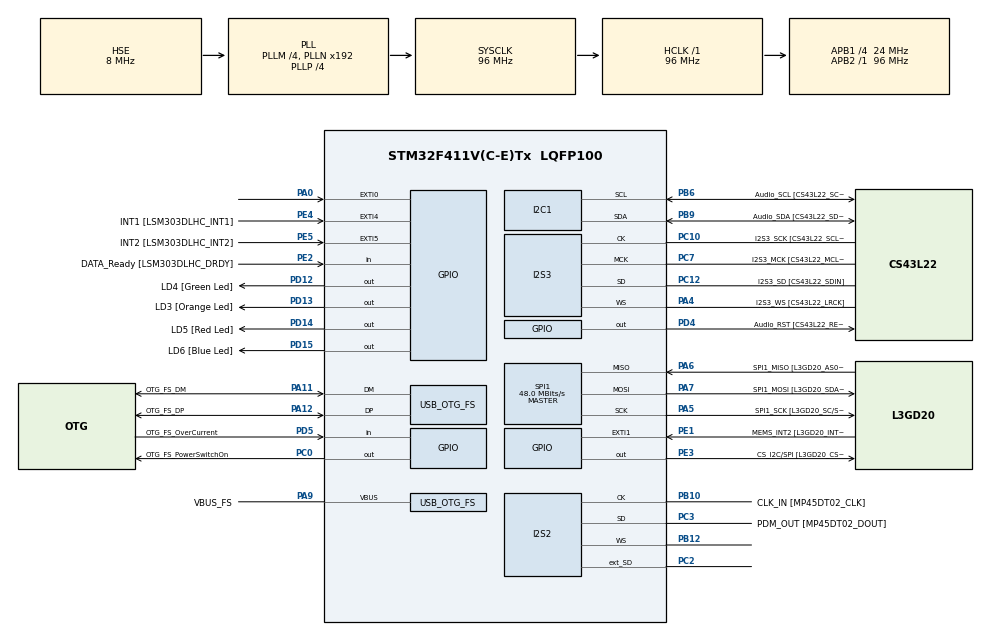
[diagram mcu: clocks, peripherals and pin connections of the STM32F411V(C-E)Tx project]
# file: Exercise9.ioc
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FREERTOS.Mutexes01=CriticalResourceMutex,Dynamic,NULL
FREERTOS.Tasks01=GreenLEDTask,0,128,StartGreenLEDTask,Default,NULL,Dynamic,NULL,NULL;RedLEDTask,0,128,StartRedLEDTask,Default,NULL,Dynamic,NULL,NULL;OrangeLEDTask,1,128,StartOrangeLEDTask,Default,NULL,Dynamic,NULL,NULL
I2S2.AudioFreq=I2S_AUDIOFREQ_96K
I2S2.ErrorAudioFreq=0.15 %
I2S2.FullDuplexMode=I2S_FULLDUPLEXMODE_ENABLE
I2S2.Instance=SPI$Index
I2S2.RealAudioFreq=96.153 KHz
I2S2.VirtualMode=I2S_MODE_MASTER
I2S3.AudioFreq=I2S_AUDIOFREQ_96K
I2S3.ErrorAudioFreq=-6.99 %
I2S3.FullDuplexMode=I2S_FULLDUPLEXMODE_DISABLE
I2S3.Instance=SPI$Index
I2S3.RealAudioFreq=89.285 KHz
I2S3.VirtualMode=I2S_MODE_MASTER
Mcu.Family=STM32F4
Mcu.Name=STM32F411V(C-E)Tx
Mcu.Package=LQFP100
NVIC.OTG_FS_IRQn=true\:5\:0\:false\:false\:true\:true\:true\:true
NVIC.PriorityGroup=NVIC_PRIORITYGROUP_4
NVIC.TIM1_UP_TIM10_IRQn=true\:0\:0\:false\:false\:true\:false\:false\:true
NVIC.TimeBase=TIM1_UP_TIM10_IRQn
NVIC.TimeBaseIP=TIM1
PA0-WKUP.GPIO_ModeDefaultEXTI=GPIO_MODE_EVT_RISING
PA0-WKUP.Signal=GPXTI0
PA10.GPIO_Label=OTG_FS_ID
PA10.Signal=USB_OTG_FS_ID
PA11.GPIO_Label=OTG_FS_DM
PA11.Mode=Host_Only
PA11.Signal=USB_OTG_FS_DM
PA12.GPIO_Label=OTG_FS_DP
PA12.Mode=Host_Only
PA12.Signal=USB_OTG_FS_DP
PA13.GPIO_Label=SWDIO
PA13.Mode=Serial_Wire
PA13.Signal=SYS_JTMS-SWDIO
PA14.GPIO_Label=SWCLK
PA14.Mode=Serial_Wire
PA14.Signal=SYS_JTCK-SWCLK
PA4.GPIO_Label=I2S3_WS [CS43L22_LRCK]
PA4.GPIO_Mode=GPIO_MODE_AF_PP
PA4.GPIO_PuPd=GPIO_NOPULL
PA4.GPIO_Speed=GPIO_SPEED_FREQ_LOW
PA4.Mode=Half_Duplex_Master
PA4.Signal=I2S3_WS
PA5.GPIO_Label=SPI1_SCK [L3GD20_SC/SPC]
PA5.Mode=Full_Duplex_Master
PA5.Signal=SPI1_SCK
PA6.GPIO_Label=SPI1_MISO [L3GD20_AS0/SDO]
PA6.Mode=Full_Duplex_Master
PA6.Signal=SPI1_MISO
PA7.GPIO_Label=SPI1_MOSI [L3GD20_SDA/SDI/SDO]
PA7.Mode=Full_Duplex_Master
PA7.Signal=SPI1_MOSI
PA9.GPIO_Label=VBUS_FS
PA9.Mode=Activate_VBUS
PA9.Signal=USB_OTG_FS_VBUS
PB10.GPIO_Label=CLK_IN [MP45DT02_CLK]
PB10.Mode=Full_Duplex_Master
PB10.Signal=I2S2_CK
PB12.Mode=Full_Duplex_Master
PB12.Signal=I2S2_WS
PB3.GPIO_Label=SWO
PB3.Signal=SYS_JTDO-SWO
PB6.GPIO_Label=Audio_SCL [CS43L22_SCL]
PB6.GPIO_Mode=GPIO_MODE_AF_OD
PB6.GPIO_PuPd=GPIO_NOPULL
PB6.GPIO_Speed=GPIO_SPEED_FREQ_LOW
PB6.Mode=I2C
PB6.Signal=I2C1_SCL
PB9.GPIO_Label=Audio_SDA [CS43L22_SDA]
PB9.GPIO_Mode=GPIO_MODE_AF_OD
PB9.GPIO_PuPd=GPIO_NOPULL
PB9.GPIO_Speed=GPIO_SPEED_FREQ_LOW
PB9.Mode=I2C
PB9.Signal=I2C1_SDA
PC0.GPIO_Label=OTG_FS_PowerSwitchOn
PC0.PinState=GPIO_PIN_SET
PC0.Signal=GPIO_Output
PC10.GPIO_Label=I2S3_SCK [CS43L22_SCLK]
PC10.GPIO_Mode=GPIO_MODE_AF_PP
PC10.GPIO_PuPd=GPIO_NOPULL
PC10.GPIO_Speed=GPIO_SPEED_FREQ_LOW
PC10.Mode=Half_Duplex_Master
PC10.Signal=I2S3_CK
PC12.GPIO_Label=I2S3_SD [CS43L22_SDIN]
PC12.GPIO_Mode=GPIO_MODE_AF_PP
PC12.GPIO_PuPd=GPIO_NOPULL
PC12.GPIO_Speed=GPIO_SPEED_FREQ_LOW
PC12.Mode=Half_Duplex_Master
PC12.Signal=I2S3_SD
PC14-OSC32_IN.GPIO_Label=PC14-OSC32_IN
PC14-OSC32_IN.Mode=LSE-External-Oscillator
PC14-OSC32_IN.Signal=RCC_OSC32_IN
PC15-OSC32_OUT.GPIO_Label=PC15-OSC32_OUT
PC15-OSC32_OUT.Mode=LSE-External-Oscillator
PC15-OSC32_OUT.Signal=RCC_OSC32_OUT
PC2.Mode=Full_Duplex_Master
PC2.Signal=I2S2_ext_SD
PC3.GPIO_Label=PDM_OUT [MP45DT02_DOUT]
PC3.Mode=Full_Duplex_Master
PC3.Signal=I2S2_SD
PC7.GPIO_Label=I2S3_MCK [CS43L22_MCLK]
PC7.GPIO_Mode=GPIO_MODE_AF_PP
PC7.GPIO_PuPd=GPIO_NOPULL
PC7.GPIO_Speed=GPIO_SPEED_FREQ_LOW
PC7.Mode=Master_Clock_Activated
PC7.Signal=I2S3_MCK
PD12.GPIO_Label=LD4 [Green Led]
PD12.GPIO_PuPd=GPIO_NOPULL
PD12.GPIO_Speed=GPIO_SPEED_FREQ_LOW
PD12.Signal=GPIO_Output
PD13.GPIO_Label=LD3 [Orange Led]
PD13.GPIO_PuPd=GPIO_NOPULL
PD13.GPIO_Speed=GPIO_SPEED_FREQ_LOW
PD13.Signal=GPIO_Output
PD14.GPIO_Label=LD5 [Red Led]
PD14.GPIO_PuPd=GPIO_NOPULL
PD14.GPIO_Speed=GPIO_SPEED_FREQ_LOW
PD14.Signal=GPIO_Output
PD15.GPIO_Label=LD6 [Blue Led]
PD15.GPIO_PuPd=GPIO_NOPULL
PD15.GPIO_Speed=GPIO_SPEED_FREQ_LOW
PD15.Signal=GPIO_Output
PD4.GPIO_Label=Audio_RST [CS43L22_RESET]
PD4.Signal=GPIO_Output
PD5.GPIO_Label=OTG_FS_OverCurrent
PD5.Signal=GPIO_Input
PE1.GPIO_Label=MEMS_INT2 [L3GD20_INT2]
PE1.GPIO_ModeDefaultEXTI=GPIO_MODE_EVT_RISING
PE1.Signal=GPXTI1
PE2.GPIO_Label=DATA_Ready [LSM303DLHC_DRDY]
PE2.Signal=GPIO_Input
PE3.GPIO_Label=CS_I2C/SPI [L3GD20_CS_I2C/SPI]
PE3.Signal=GPIO_Output
PE4.GPIO_Label=INT1 [LSM303DLHC_INT1]
PE4.GPIO_ModeDefaultEXTI=GPIO_MODE_EVT_RISING
PE4.Signal=GPXTI4
PE5.GPIO_Label=INT2 [LSM303DLHC_INT2]
PE5.GPIO_ModeDefaultEXTI=GPIO_MODE_EVT_RISING
PE5.Signal=GPXTI5
PH0\ -\ OSC_IN.GPIO_Label=PH0-OSC_IN
PH0\ -\ OSC_IN.Mode=HSE-External-Oscillator
PH0\ -\ OSC_IN.Signal=RCC_OSC_IN
PH1\ -\ OSC_OUT.GPIO_Label=PH1-OSC_OUT
PH1\ -\ OSC_OUT.Mode=HSE-External-Oscillator
PH1\ -\ OSC_OUT.Signal=RCC_OSC_OUT
ProjectManager.HeapSize=0x200
ProjectManager.StackSize=0x400
ProjectManager.TargetToolchain=STM32CubeIDE
RCC.48MHZClocksFreq_Value=48000000
RCC.AHBFreq_Value=96000000
RCC.APB1CLKDivider=RCC_HCLK_DIV4
RCC.APB1Freq_Value=24000000
RCC.APB1TimFreq_Value=48000000
RCC.APB2Freq_Value=96000000
RCC.APB2TimFreq_Value=96000000
RCC.CortexFreq_Value=96000000
RCC.HCLKFreq_Value=96000000
RCC.HSE_VALUE=8000000
RCC.HSI_VALUE=16000000
RCC.PLLI2SM=5
RCC.PLLI2SN=200
RCC.PLLM=4
RCC.PLLP=RCC_PLLP_DIV4
RCC.PLLQ=8
RCC.SYSCLKFreq_VALUE=96000000
RCC.SYSCLKSource=RCC_SYSCLKSOURCE_PLLCLK
RCC.VCOOutputFreq_Value=384000000
SPI1.BaudRatePrescaler=SPI_BAUDRATEPRESCALER_2
SPI1.CalculateBaudRate=48.0 MBits/s
SPI1.Direction=SPI_DIRECTION_2LINES
SPI1.Mode=SPI_MODE_MASTER
SPI1.VirtualType=VM_MASTER
USB_OTG_FS.VirtualMode=Host_Only
USB_OTG_FS.phy_itface=HCD_PHY_EMBEDDED
VP_FREERTOS_VS_CMSIS_V1.Mode=CMSIS_V1
VP_SYS_VS_tim1.Mode=TIM1
board=STM32F411E-DISCO

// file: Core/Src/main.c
/* USER CODE BEGIN Header */
/**
  ******************************************************************************
  * @file           : main.c
  * @brief          : Main program body
  ******************************************************************************
  * @attention
  *
  * <h2><center>&copy; Copyright (c) 2024 STMicroelectronics.
  * All rights reserved.</center></h2>
  *
  * This software component is licensed by ST under Ultimate Liberty license
  * SLA0044, the "License"; You may not use this file except in compliance with
  * the License. You may obtain a copy of the License at:
  *                             www.st.com/SLA0044
  *
  ******************************************************************************
  */
/* USER CODE END Header */

#include "main.h"
#include "cmsis_os.h"

I2C_HandleTypeDef hi2c1;

I2S_HandleTypeDef hi2s2;
I2S_HandleTypeDef hi2s3;

SPI_HandleTypeDef hspi1;

HCD_HandleTypeDef hhcd_USB_OTG_FS;

osThreadId GreenLEDTaskHandle;
osThreadId RedLEDTaskHandle;
osThreadId OrangeLEDTaskHandle;
osMutexId CriticalResourceMutexHandle;

void SystemClock_Config(void);
static void MX_GPIO_Init(void);
static void MX_I2C1_Init(void);
static void MX_I2S2_Init(void);
static void MX_I2S3_Init(void);
static void MX_SPI1_Init(void);
static void MX_USB_OTG_FS_HCD_Init(void);
void StartGreenLEDTask(void const * argument);
void StartRedLEDTask(void const * argument);
void StartOrangeLEDTask(void const * argument);

int main(void)
{

  /* MCU Configuration--------------------------------------------------------*/

  /* Reset of all peripherals, Initializes the Flash interface and the Systick. */
  HAL_Init();

  /* Configure the system clock */
  SystemClock_Config();

  /* Initialize all configured peripherals */
  MX_GPIO_Init();
  MX_I2C1_Init();
  MX_I2S2_Init();
  MX_I2S3_Init();
  MX_SPI1_Init();
  MX_USB_OTG_FS_HCD_Init();

  /* Create the mutex(es) */
  /* definition and creation of CriticalResourceMutex */
  osMutexDef(CriticalResourceMutex);
  CriticalResourceMutexHandle = osMutexCreate(osMutex(CriticalResourceMutex));

  /* Create the thread(s) */
  /* definition and creation of GreenLEDTask */
  osThreadDef(GreenLEDTask, StartGreenLEDTask, osPriorityNormal, 0, 128);
  GreenLEDTaskHandle = osThreadCreate(osThread(GreenLEDTask), NULL);

  /* definition and creation of RedLEDTask */
  osThreadDef(RedLEDTask, StartRedLEDTask, osPriorityNormal, 0, 128);
  RedLEDTaskHandle = osThreadCreate(osThread(RedLEDTask), NULL);

  /* definition and creation of OrangeLEDTask */
  osThreadDef(OrangeLEDTask, StartOrangeLEDTask, osPriorityAboveNormal, 0, 128);
  OrangeLEDTaskHandle = osThreadCreate(osThread(OrangeLEDTask), NULL);

  /* Start scheduler */
  osKernelStart();

  /* We should never get here as control is now taken by the scheduler */

  /* Infinite loop */
  while (1)
  {

  }
}

void SystemClock_Config(void)
{
  RCC_OscInitTypeDef RCC_OscInitStruct = {0};
  RCC_ClkInitTypeDef RCC_ClkInitStruct = {0};
  RCC_PeriphCLKInitTypeDef PeriphClkInitStruct = {0};

  /** Configure the main internal regulator output voltage
  */
  __HAL_RCC_PWR_CLK_ENABLE();
  __HAL_PWR_VOLTAGESCALING_CONFIG(PWR_REGULATOR_VOLTAGE_SCALE1);
  /** Initializes the CPU, AHB and APB busses clocks
  */
  RCC_OscInitStruct.OscillatorType = RCC_OSCILLATORTYPE_HSE;
  RCC_OscInitStruct.HSEState = RCC_HSE_ON;
  RCC_OscInitStruct.PLL.PLLState = RCC_PLL_ON;
  RCC_OscInitStruct.PLL.PLLSource = RCC_PLLSOURCE_HSE;
  RCC_OscInitStruct.PLL.PLLM = 4;
  RCC_OscInitStruct.PLL.PLLN = 192;
  RCC_OscInitStruct.PLL.PLLP = RCC_PLLP_DIV4;
  RCC_OscInitStruct.PLL.PLLQ = 8;
  if (HAL_RCC_OscConfig(&RCC_OscInitStruct) != HAL_OK)
  {
    Error_Handler();
  }
  /** Initializes the CPU, AHB and APB busses clocks
  */
  RCC_ClkInitStruct.ClockType = RCC_CLOCKTYPE_HCLK|RCC_CLOCKTYPE_SYSCLK
                              |RCC_CLOCKTYPE_PCLK1|RCC_CLOCKTYPE_PCLK2;
  RCC_ClkInitStruct.SYSCLKSource = RCC_SYSCLKSOURCE_PLLCLK;
  RCC_ClkInitStruct.AHBCLKDivider = RCC_SYSCLK_DIV1;
  RCC_ClkInitStruct.APB1CLKDivider = RCC_HCLK_DIV4;
  RCC_ClkInitStruct.APB2CLKDivider = RCC_HCLK_DIV1;

  if (HAL_RCC_ClockConfig(&RCC_ClkInitStruct, FLASH_LATENCY_3) != HAL_OK)
  {
    Error_Handler();
  }
  PeriphClkInitStruct.PeriphClockSelection = RCC_PERIPHCLK_I2S;
  PeriphClkInitStruct.PLLI2S.PLLI2SN = 200;
  PeriphClkInitStruct.PLLI2S.PLLI2SM = 5;
  PeriphClkInitStruct.PLLI2S.PLLI2SR = 2;
  if (HAL_RCCEx_PeriphCLKConfig(&PeriphClkInitStruct) != HAL_OK)
  {
    Error_Handler();
  }
}

static void MX_I2C1_Init(void)
{

  hi2c1.Instance = I2C1;
  hi2c1.Init.ClockSpeed = 100000;
  hi2c1.Init.DutyCycle = I2C_DUTYCYCLE_2;
  hi2c1.Init.OwnAddress1 = 0;
  hi2c1.Init.AddressingMode = I2C_ADDRESSINGMODE_7BIT;
  hi2c1.Init.DualAddressMode = I2C_DUALADDRESS_DISABLE;
  hi2c1.Init.OwnAddress2 = 0;
  hi2c1.Init.GeneralCallMode = I2C_GENERALCALL_DISABLE;
  hi2c1.Init.NoStretchMode = I2C_NOSTRETCH_DISABLE;
  if (HAL_I2C_Init(&hi2c1) != HAL_OK)
  {
    Error_Handler();
  }

}

static void MX_I2S2_Init(void)
{

  hi2s2.Instance = SPI2;
  hi2s2.Init.Mode = I2S_MODE_MASTER_TX;
  hi2s2.Init.Standard = I2S_STANDARD_PHILIPS;
  hi2s2.Init.DataFormat = I2S_DATAFORMAT_16B;
  hi2s2.Init.MCLKOutput = I2S_MCLKOUTPUT_DISABLE;
  hi2s2.Init.AudioFreq = I2S_AUDIOFREQ_96K;
  hi2s2.Init.CPOL = I2S_CPOL_LOW;
  hi2s2.Init.ClockSource = I2S_CLOCK_PLL;
  hi2s2.Init.FullDuplexMode = I2S_FULLDUPLEXMODE_ENABLE;
  if (HAL_I2S_Init(&hi2s2) != HAL_OK)
  {
    Error_Handler();
  }

}

static void MX_I2S3_Init(void)
{

  hi2s3.Instance = SPI3;
  hi2s3.Init.Mode = I2S_MODE_MASTER_TX;
  hi2s3.Init.Standard = I2S_STANDARD_PHILIPS;
  hi2s3.Init.DataFormat = I2S_DATAFORMAT_16B;
  hi2s3.Init.MCLKOutput = I2S_MCLKOUTPUT_ENABLE;
  hi2s3.Init.AudioFreq = I2S_AUDIOFREQ_96K;
  hi2s3.Init.CPOL = I2S_CPOL_LOW;
  hi2s3.Init.ClockSource = I2S_CLOCK_PLL;
  hi2s3.Init.FullDuplexMode = I2S_FULLDUPLEXMODE_DISABLE;
  if (HAL_I2S_Init(&hi2s3) != HAL_OK)
  {
    Error_Handler();
  }

}

static void MX_SPI1_Init(void)
{

  /* SPI1 parameter configuration*/
  hspi1.Instance = SPI1;
  hspi1.Init.Mode = SPI_MODE_MASTER;
  hspi1.Init.Direction = SPI_DIRECTION_2LINES;
  hspi1.Init.DataSize = SPI_DATASIZE_8BIT;
  hspi1.Init.CLKPolarity = SPI_POLARITY_LOW;
  hspi1.Init.CLKPhase = SPI_PHASE_1EDGE;
  hspi1.Init.NSS = SPI_NSS_SOFT;
  hspi1.Init.BaudRatePrescaler = SPI_BAUDRATEPRESCALER_2;
  hspi1.Init.FirstBit = SPI_FIRSTBIT_MSB;
  hspi1.Init.TIMode = SPI_TIMODE_DISABLE;
  hspi1.Init.CRCCalculation = SPI_CRCCALCULATION_DISABLE;
  hspi1.Init.CRCPolynomial = 10;
  if (HAL_SPI_Init(&hspi1) != HAL_OK)
  {
    Error_Handler();
  }

}

static void MX_USB_OTG_FS_HCD_Init(void)
{

  hhcd_USB_OTG_FS.Instance = USB_OTG_FS;
  hhcd_USB_OTG_FS.Init.Host_channels = 8;
  hhcd_USB_OTG_FS.Init.speed = HCD_SPEED_FULL;
  hhcd_USB_OTG_FS.Init.dma_enable = DISABLE;
  hhcd_USB_OTG_FS.Init.phy_itface = HCD_PHY_EMBEDDED;
  hhcd_USB_OTG_FS.Init.Sof_enable = DISABLE;
  if (HAL_HCD_Init(&hhcd_USB_OTG_FS) != HAL_OK)
  {
    Error_Handler();
  }

}

static void MX_GPIO_Init(void)
{
  GPIO_InitTypeDef GPIO_InitStruct = {0};

  /* GPIO Ports Clock Enable */
  __HAL_RCC_GPIOE_CLK_ENABLE();
  __HAL_RCC_GPIOC_CLK_ENABLE();
  __HAL_RCC_GPIOH_CLK_ENABLE();
  __HAL_RCC_GPIOA_CLK_ENABLE();
  __HAL_RCC_GPIOB_CLK_ENABLE();
  __HAL_RCC_GPIOD_CLK_ENABLE();

  /*Configure GPIO pin Output Level */
  HAL_GPIO_WritePin(CS_I2C_SPI_GPIO_Port, CS_I2C_SPI_Pin, GPIO_PIN_RESET);

  /*Configure GPIO pin Output Level */
  HAL_GPIO_WritePin(OTG_FS_PowerSwitchOn_GPIO_Port, OTG_FS_PowerSwitchOn_Pin, GPIO_PIN_SET);

  /*Configure GPIO pin Output Level */
  HAL_GPIO_WritePin(GPIOD, LD4_Pin|LD3_Pin|LD5_Pin|LD6_Pin
                          |Audio_RST_Pin, GPIO_PIN_RESET);

  /*Configure GPIO pin : DATA_Ready_Pin */
  GPIO_InitStruct.Pin = DATA_Ready_Pin;
  GPIO_InitStruct.Mode = GPIO_MODE_INPUT;
  GPIO_InitStruct.Pull = GPIO_NOPULL;
  HAL_GPIO_Init(DATA_Ready_GPIO_Port, &GPIO_InitStruct);

  /*Configure GPIO pin : CS_I2C_SPI_Pin */
  GPIO_InitStruct.Pin = CS_I2C_SPI_Pin;
  GPIO_InitStruct.Mode = GPIO_MODE_OUTPUT_PP;
  GPIO_InitStruct.Pull = GPIO_NOPULL;
  GPIO_InitStruct.Speed = GPIO_SPEED_FREQ_LOW;
  HAL_GPIO_Init(CS_I2C_SPI_GPIO_Port, &GPIO_InitStruct);

  /*Configure GPIO pins : INT1_Pin INT2_Pin MEMS_INT2_Pin */
  GPIO_InitStruct.Pin = INT1_Pin|INT2_Pin|MEMS_INT2_Pin;
  GPIO_InitStruct.Mode = GPIO_MODE_EVT_RISING;
  GPIO_InitStruct.Pull = GPIO_NOPULL;
  HAL_GPIO_Init(GPIOE, &GPIO_InitStruct);

  /*Configure GPIO pin : OTG_FS_PowerSwitchOn_Pin */
  GPIO_InitStruct.Pin = OTG_FS_PowerSwitchOn_Pin;
  GPIO_InitStruct.Mode = GPIO_MODE_OUTPUT_PP;
  GPIO_InitStruct.Pull = GPIO_NOPULL;
  GPIO_InitStruct.Speed = GPIO_SPEED_FREQ_LOW;
  HAL_GPIO_Init(OTG_FS_PowerSwitchOn_GPIO_Port, &GPIO_InitStruct);

  /*Configure GPIO pin : PA0 */
  GPIO_InitStruct.Pin = GPIO_PIN_0;
  GPIO_InitStruct.Mode = GPIO_MODE_EVT_RISING;
  GPIO_InitStruct.Pull = GPIO_NOPULL;
  HAL_GPIO_Init(GPIOA, &GPIO_InitStruct);

  /*Configure GPIO pins : LD4_Pin LD3_Pin LD5_Pin LD6_Pin
                           Audio_RST_Pin */
  GPIO_InitStruct.Pin = LD4_Pin|LD3_Pin|LD5_Pin|LD6_Pin
                          |Audio_RST_Pin;
  GPIO_InitStruct.Mode = GPIO_MODE_OUTPUT_PP;
  GPIO_InitStruct.Pull = GPIO_NOPULL;
  GPIO_InitStruct.Speed = GPIO_SPEED_FREQ_LOW;
  HAL_GPIO_Init(GPIOD, &GPIO_InitStruct);

  /*Configure GPIO pin : OTG_FS_OverCurrent_Pin */
  GPIO_InitStruct.Pin = OTG_FS_OverCurrent_Pin;
  GPIO_InitStruct.Mode = GPIO_MODE_INPUT;
  GPIO_InitStruct.Pull = GPIO_NOPULL;
  HAL_GPIO_Init(OTG_FS_OverCurrent_GPIO_Port, &GPIO_InitStruct);

}

/* USER CODE BEGIN 4 */
int Start_Flag = 1;
void Access_Function()
{
	if (Start_Flag == 1)
	{
		Start_Flag = 0;
	}
	else
	{
		HAL_GPIO_TogglePin(GPIOD, GPIO_PIN_15);

	}
	for(int i = 0; i < 2000000; ++i);
	Start_Flag = 1;
	return;
}
/* USER CODE END 4 */

void StartGreenLEDTask(void const * argument)
{
  /* USER CODE BEGIN 5 */
  /* Infinite loop */
  for(;;)
  {
	HAL_GPIO_WritePin(GPIOD, GPIO_PIN_12, GPIO_PIN_SET);// turn green led on
	osMutexWait(CriticalResourceMutexHandle, osWaitForever);//Mutex  (wait)
	Access_Function();
	osMutexRelease(CriticalResourceMutexHandle);//mutex  (signal)
	osDelay(200);// 200 ms delay
	HAL_GPIO_WritePin(GPIOD, GPIO_PIN_12, GPIO_PIN_RESET);//turn green led off
	osDelay(200);// 200 ms delay
  }
  /* USER CODE END 5 */
}

void StartRedLEDTask(void const * argument)
{
  /* USER CODE BEGIN StartRedLEDTask */
  /* Infinite loop */
  for(;;)
  {
	HAL_GPIO_WritePin(GPIOD, GPIO_PIN_14, GPIO_PIN_SET);// turn red led on
	osMutexWait(CriticalResourceMutexHandle, osWaitForever);// Mutex P(wait)
	Access_Function();
	osMutexRelease(CriticalResourceMutexHandle);//Mutex V(signal)
    osDelay(550);//550 ms delay
    HAL_GPIO_WritePin(GPIOD, GPIO_PIN_14, GPIO_PIN_RESET);//turn red led off
    osDelay(550);//550 ms delay
  }
  /* USER CODE END StartRedLEDTask */
}

void StartOrangeLEDTask(void const * argument)
{
  /* USER CODE BEGIN StartOrangeLEDTask */
  /* Infinite loop */
  for(;;)
  {
	HAL_GPIO_TogglePin(GPIOD, GPIO_PIN_13);// toggle orange led
    osDelay(50); // 50mS Delay
  }
  /* USER CODE END StartOrangeLEDTask */
}

void HAL_TIM_PeriodElapsedCallback(TIM_HandleTypeDef *htim)
{
  if (htim->Instance == TIM1) {
    HAL_IncTick();
  }
}

void Error_Handler(void)
{
}

/************************ (C) COPYRIGHT STMicroelectronics *****END OF FILE****/
